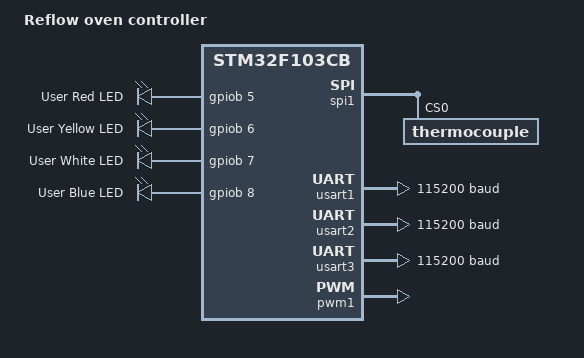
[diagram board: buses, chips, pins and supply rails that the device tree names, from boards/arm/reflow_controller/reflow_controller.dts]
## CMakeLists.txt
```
# SPDX-License-Identifier: Apache-2.0

cmake_minimum_required(VERSION 3.13.1)

# Re-direct the directory where the 'boards' directory is found from
# $ZEPHYR_BASE to this directory.
set(BOARD_ROOT ${CMAKE_CURRENT_LIST_DIR})

# This project is only compatible with the "reflow_controller" because it has
# re-directed the 'boards' directory to a directory that only contains
# this board.
set(BOARD reflow_controller)

# Add the driver directories
list(APPEND ZEPHYR_EXTRA_MODULES
  ${CMAKE_CURRENT_SOURCE_DIR}/drivers/thermocouple_module
)

# Add an absolute directory path to the CMake variable
# SYSCALL_INCLUDE_DIRS. This ensures that the syscall machinery will
# be able to find the module's syscalls.
list(APPEND SYSCALL_INCLUDE_DIRS ${CMAKE_CURRENT_SOURCE_DIR}/drivers/thermocouple_module/zephyr)


find_package(Zephyr REQUIRED HINTS $ENV{ZEPHYR_BASE})
project(hello_world)

target_sources(app PRIVATE src/main.c)
```

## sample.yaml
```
sample:
  description: Reflow oven soldering controller
  name: reflow_controller
```

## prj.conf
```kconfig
CONFIG_SPI=y
CONFIG_SPI_1=y
CONFIG_SPI_STM32=y
CONFIG_SPI_STM32_USE_HW_SS=y
CONFIG_GPIO=y
CONFIG_CONSOLE_SUBSYS=y
CONFIG_CONSOLE_GETLINE=y
CONFIG_THERMOCOUPLE_DRIVER=y
```

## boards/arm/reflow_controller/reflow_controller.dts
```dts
/*
 * Copyright (c) 2017 Linaro Limited
 *
 * SPDX-License-Identifier: Apache-2.0
 */

/dts-v1/;
#include <st/f1/stm32f103Xb.dtsi>

/ {
	model = "Reflow oven controller";
	compatible = "st,stm32f103cb";

	chosen {
		zephyr,console = &usart1;
		zephyr,shell-uart = &usart1;
		zephyr,sram = &sram0;
		zephyr,flash = &flash0;
	};

	leds {
		compatible = "gpio-leds";
		led_red: led_red {
			gpios = <&gpiob 5 GPIO_ACTIVE_HIGH>;
			label = "User Red LED";
		};
		led_yellow: led_yellow {
			gpios = <&gpiob 6 GPIO_ACTIVE_HIGH>;
			label = "User Yellow LED";
		};
		led_white: led_white {
			gpios = <&gpiob 7 GPIO_ACTIVE_HIGH>;
			label = "User White LED";
		};
		led_blue: led_blue {
			gpios = <&gpiob 8 GPIO_ACTIVE_HIGH>;
			label = "User Blue LED";
		};
	};


	
	aliases {
		led0 = &led_red;
	};
};

&spi1 {
	status = "okay";

	thermocouple: thermocouple@0 {
		compatible = "thermocouple";
		label = "THERMOCOUPLE";

		reg = <0>; /* ignored, but necessary for SPI bindings */
	};
};

&usart1 {
	current-speed = <115200>;
	status = "okay";
};

&usart2 {
	current-speed = <115200>;
};

&usart3 {
	current-speed = <115200>;
};


&spi2 {
	#status = "okay";
};

&timers1 {
	#status = "okay";

	pwm1: pwm {
		status = "okay";
	};
};

&iwdg {
	#status = "okay";
};

&adc1 {
	#status = "okay";
};

&usb {
	#status = "okay";
};
```

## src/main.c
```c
#include <zephyr.h>
#include <device.h>
#include <devicetree.h>
#include <drivers/spi.h>
#include <drivers/gpio.h>
#include <console/console.h>
#include <string.h>
#include <stdio.h>

#include <pinmux/stm32/pinmux_stm32.h>
#include "thermocouple_driver.h"


// LED declares
#define LEDS_NUMBER                 4
#define LEDS_PORT                   DT_GPIO_LABEL(DT_NODELABEL(led_red), gpios)
#define LED_RED                     DT_GPIO_PIN(DT_NODELABEL(led_red), gpios)
#define LED_YELLOW                  DT_GPIO_PIN(DT_NODELABEL(led_yellow), gpios)
#define LED_WHITE                   DT_GPIO_PIN(DT_NODELABEL(led_white), gpios)
#define LED_BLUE                    DT_GPIO_PIN(DT_NODELABEL(led_blue), gpios)
const char LEDS[] =                 {LED_RED, LED_YELLOW, LED_WHITE, LED_BLUE};


#define THERMOCOUPLE_LABEL          "THERMOCOUPLE"


// heater control declares
#define HEATER_TOP                  0
#define HEATER_BOTTOM               1
const char HEATER_PORT[][6] =       {"GPIOA", "GPIOB"};
const char HEATER_PIN[] =           {8, 9};
#define ON                          1
#define OFF                         0


// Store the device bindings
struct device *dev_leds[LEDS_NUMBER];
struct device *dev_heaters[2];
struct device *dev_thermocouple;


// define the SPI configuration
struct spi_cs_control spi_cs = {
    .gpio_dev = NULL,
    .gpio_pin = 0,
    .delay = 0,
};

struct spi_config spi_cfg = {
    .frequency = 0,
    .operation = 0,
    .slave = 0,
    .cs = NULL
};


/*
 * Initialize the console
 * --------------------
 *  Prepare the console so that the program can read lines from the console
 *  provided by the user or automated interface.
 */
int init_console() {

    // setup to retrieve info from terminal
    console_getline_init();

    return 0;
}


/*
 * Initialize the LEDs
 * --------------------
 *  Prepare the LED ports so that the LEDs can be easily toggle to communicate
 *  program state
 */
int init_leds() {

    // if nothing goes wrong we'll return no error code
    int return_code = 0;

    // run through each LED enabling it
    for(int i=0; i<LEDS_NUMBER; i++) {

        // create the device binding
        dev_leds[i] = device_get_binding(LEDS_PORT);
        if (dev_leds[i] == NULL) {
            printk("FAILED: Could not setup LED number %d\n", i);
            return_code = -1;
        }

        // configure the LED pin as an output
        gpio_pin_configure(dev_leds[i], LEDS[i], GPIO_OUTPUT_ACTIVE);
        gpio_pin_set(dev_leds[i], LEDS[i], OFF);
    }

    return return_code;
}


/*
 * Initialize the heaters
 * --------------------
 *  Prepare the heater control ports that turn on each heater element
 */
int init_heaters() {

    // get the port bindings
    dev_heaters[HEATER_TOP] = device_get_binding(HEATER_PORT + HEATER_TOP);
    dev_heaters[HEATER_BOTTOM] = device_get_binding(HEATER_PORT + HEATER_BOTTOM);
    // dev_heaters[HEATER_TOP] = device_get_binding("GPIOA");
    // dev_heaters[HEATER_BOTTOM] = device_get_binding("GPIOB");

    // configure the pins as outputs
    gpio_pin_configure(dev_heaters[HEATER_TOP], HEATER_PIN[HEATER_TOP], GPIO_OUTPUT_ACTIVE);
    gpio_pin_configure(dev_heaters[HEATER_BOTTOM], HEATER_PIN[HEATER_BOTTOM], GPIO_OUTPUT_ACTIVE);

    // ensure the heaters are turned off
    gpio_pin_set(dev_heaters[HEATER_TOP], HEATER_PIN[HEATER_TOP], OFF);
    gpio_pin_set(dev_heaters[HEATER_BOTTOM], HEATER_PIN[HEATER_BOTTOM], OFF);

    return 0;
}


/*
 * Initialize the microcontroller
 * --------------------
 *  Prepare the all the peripherals, interfaces and indicators
 */
int init() {

    // if nothing goes wrong we'll return no error code
    int return_code = 0;
    printk("Starting initialize process...\n");

    // setup the console
    return_code = return_code | init_console();
    printk("  Console initialized\n");

    // setup the LEDs
    return_code = return_code | init_leds();
    printk("  LEDs initialized\n");

    // setup the heaters
    return_code = return_code | init_heaters();
    printk("  Heaters initialized\n");

    // setup the thermocouple interface
    dev_thermocouple = device_get_binding(THERMOCOUPLE_LABEL);

    printk("  Initialization complete!\n");
    return return_code;  

}


/*
 * Set heater on/off
 * --------------------
 *  Change the heater status to ON or OFF
 */
int heater_output(int heater, int state) {

    // set the heater output state
    gpio_pin_set(dev_heaters[heater], HEATER_PIN[heater], state);

    return 0;
}


void main(void)
{

    // initiliase
    init();

    // thermocouple values
    float thermocouple_temperature;
    float ambient_temperature;
    int thermocouple_error[3];   // short circuit to VDD / short circuit to GND / open circuit
    

    for (;;) {
        

        // ask user for input
        char *s = console_getline();
        printf("%s\n", s);

        // turn the heaters on/off
        for(int i=0; i<2; i++) {
            if (s[i] == '1') {
                heater_output(i, ON);
            } else {
                heater_output(i, OFF);
            }
        }

        // read the thermocouple values
        thermocouple_read(dev_thermocouple, &thermocouple_temperature, &ambient_temperature, thermocouple_error);

        // print the thermocouple values
        printf("Thermocouple Temperature = %0.2f\n", thermocouple_temperature);
        printf("Ambient Temperature      = %0.2f\n", ambient_temperature);
        printf("Error Flags\n");
        printf("   Short to VDD          = %d\n", thermocouple_error[0]);
        printf("   Short to GND          = %d\n", thermocouple_error[1]);
        printf("   Open Circuit          = %d\n", thermocouple_error[2]);

    }
}
```
